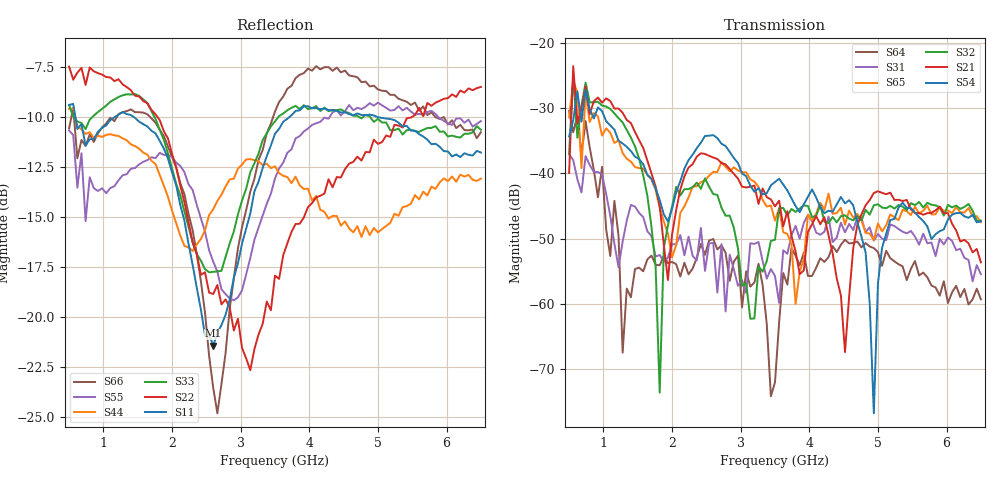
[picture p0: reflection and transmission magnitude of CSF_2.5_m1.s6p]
!Keysight Technologies,M9804A,MY58100912,A.14.10.03
!Date: Thursday, April 27, 2023 10:28:33
!Correction: S11(C  6-Port  )
!S12(C  6-Port  )
!S13(C  6-Port  )
!S14(C  6-Port  )
!S15(C  6-Port  )
!S16(C  6-Port  )
!S21(C  6-Port  )
!S22(C  6-Port  )
!S23(C  6-Port  )
!S24(C  6-Port  )
!S25(C  6-Port  )
!S26(C  6-Port  )
!S31(C  6-Port  )
!S32(C  6-Port  )
!S33(C  6-Port  )
!S34(C  6-Port  )
!S35(C  6-Port  )
!S36(C  6-Port  )
!S41(C  6-Port  )
!S42(C  6-Port  )
!S43(C  6-Port  )
!S44(C  6-Port  )
!S45(C  6-Port  )
!S46(C  6-Port  )
!S51(C  6-Port  )
!S52(C  6-Port  )
!S53(C  6-Port  )
!S54(C  6-Port  )
!S55(C  6-Port  )
!S56(C  6-Port  )
!S61(C  6-Port  )
!S62(C  6-Port  )
!S63(C  6-Port  )
!S64(C  6-Port  )
!S65(C  6-Port  )
!S66(C  6-Port  )
!S6P File: Measurement: :
# Hz S  RI  R 50
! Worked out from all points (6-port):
!   101 points, 500 MHz to 6.5 GHz, reference 50 ohm
!   strongest paths, dB at 500 MHz, 2 GHz, 3.5 GHz, 5 GHz, 6.5 GHz:
!     S54: -34.3, -45.4, -41.3, -56.9, -47.4
!     S21: -39.9, -49.4, -45.1, -42.7, -53.7
!     S32: -36.9, -45.1, -50.2, -44.7, -47.2
!     S65: -31.4, -52.9, -47.2, -47.7, -47.5
!     S31: -37.0, -50.9, -55.8, -49.3, -55.5
!     S64: -30.4, -53.6, -72.1, -52.1, -59.3
!   lowest |S11| = -21.4 dB at 2.6 GHz (marker M1), VSWR 1.19, Z = 42.5 + j2.19 ohm
!   |S11| at or under -10 dB: 590.2 MHz to 1.175 GHz (584.8 MHz wide, 66.3 % of centre); 1.432 GHz to 3.717 GHz (2.285 GHz wide, 88.7 % of centre); 4.978 GHz to end of sweep
